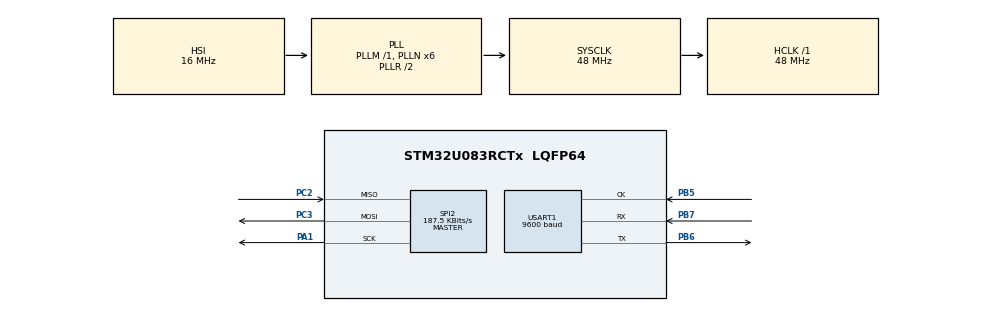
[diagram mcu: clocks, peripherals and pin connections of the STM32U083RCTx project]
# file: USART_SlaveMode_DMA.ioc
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Dma.Request0=USART1_TX
Dma.Request1=USART1_RX
Dma.Request2=SPI2_TX
Dma.Request3=SPI2_RX
Dma.SPI2_RX.3.Direction=DMA_PERIPH_TO_MEMORY
Dma.SPI2_RX.3.EventEnable=DISABLE
Dma.SPI2_RX.3.Instance=DMA1_Channel4
Dma.SPI2_RX.3.MemDataAlignment=DMA_MDATAALIGN_BYTE
Dma.SPI2_RX.3.MemInc=DMA_MINC_ENABLE
Dma.SPI2_RX.3.Mode=DMA_NORMAL
Dma.SPI2_RX.3.PeriphDataAlignment=DMA_PDATAALIGN_BYTE
Dma.SPI2_RX.3.PeriphInc=DMA_PINC_DISABLE
Dma.SPI2_RX.3.Polarity=HAL_DMAMUX_REQ_GEN_RISING
Dma.SPI2_RX.3.Priority=DMA_PRIORITY_LOW
Dma.SPI2_RX.3.RequestNumber=1
Dma.SPI2_RX.3.SignalID=NONE
Dma.SPI2_RX.3.SyncEnable=DISABLE
Dma.SPI2_RX.3.SyncPolarity=HAL_DMAMUX_SYNC_NO_EVENT
Dma.SPI2_RX.3.SyncRequestNumber=1
Dma.SPI2_RX.3.SyncSignalID=NONE
Dma.SPI2_TX.2.Direction=DMA_MEMORY_TO_PERIPH
Dma.SPI2_TX.2.EventEnable=DISABLE
Dma.SPI2_TX.2.Instance=DMA1_Channel3
Dma.SPI2_TX.2.MemDataAlignment=DMA_MDATAALIGN_BYTE
Dma.SPI2_TX.2.MemInc=DMA_MINC_ENABLE
Dma.SPI2_TX.2.Mode=DMA_NORMAL
Dma.SPI2_TX.2.PeriphDataAlignment=DMA_PDATAALIGN_BYTE
Dma.SPI2_TX.2.PeriphInc=DMA_PINC_DISABLE
Dma.SPI2_TX.2.Polarity=HAL_DMAMUX_REQ_GEN_RISING
Dma.SPI2_TX.2.Priority=DMA_PRIORITY_LOW
Dma.SPI2_TX.2.RequestNumber=1
Dma.SPI2_TX.2.SignalID=NONE
Dma.SPI2_TX.2.SyncEnable=DISABLE
Dma.SPI2_TX.2.SyncPolarity=HAL_DMAMUX_SYNC_NO_EVENT
Dma.SPI2_TX.2.SyncRequestNumber=1
Dma.SPI2_TX.2.SyncSignalID=NONE
Dma.USART1_RX.1.Direction=DMA_PERIPH_TO_MEMORY
Dma.USART1_RX.1.EventEnable=DISABLE
Dma.USART1_RX.1.Instance=DMA1_Channel2
Dma.USART1_RX.1.MemDataAlignment=DMA_MDATAALIGN_BYTE
Dma.USART1_RX.1.MemInc=DMA_MINC_ENABLE
Dma.USART1_RX.1.Mode=DMA_NORMAL
Dma.USART1_RX.1.PeriphDataAlignment=DMA_PDATAALIGN_BYTE
Dma.USART1_RX.1.PeriphInc=DMA_PINC_DISABLE
Dma.USART1_RX.1.Polarity=HAL_DMAMUX_REQ_GEN_RISING
Dma.USART1_RX.1.Priority=DMA_PRIORITY_LOW
Dma.USART1_RX.1.RequestNumber=1
Dma.USART1_RX.1.SignalID=NONE
Dma.USART1_RX.1.SyncEnable=DISABLE
Dma.USART1_RX.1.SyncPolarity=HAL_DMAMUX_SYNC_NO_EVENT
Dma.USART1_RX.1.SyncRequestNumber=1
Dma.USART1_RX.1.SyncSignalID=NONE
Dma.USART1_TX.0.Direction=DMA_MEMORY_TO_PERIPH
Dma.USART1_TX.0.EventEnable=DISABLE
Dma.USART1_TX.0.Instance=DMA1_Channel1
Dma.USART1_TX.0.MemDataAlignment=DMA_MDATAALIGN_BYTE
Dma.USART1_TX.0.MemInc=DMA_MINC_ENABLE
Dma.USART1_TX.0.Mode=DMA_NORMAL
Dma.USART1_TX.0.PeriphDataAlignment=DMA_PDATAALIGN_BYTE
Dma.USART1_TX.0.PeriphInc=DMA_PINC_DISABLE
Dma.USART1_TX.0.Polarity=HAL_DMAMUX_REQ_GEN_RISING
Dma.USART1_TX.0.Priority=DMA_PRIORITY_LOW
Dma.USART1_TX.0.RequestNumber=1
Dma.USART1_TX.0.SignalID=NONE
Dma.USART1_TX.0.SyncEnable=DISABLE
Dma.USART1_TX.0.SyncPolarity=HAL_DMAMUX_SYNC_NO_EVENT
Dma.USART1_TX.0.SyncRequestNumber=1
Dma.USART1_TX.0.SyncSignalID=NONE
Mcu.Family=STM32U0
Mcu.Name=STM32U083RCTx
Mcu.Package=LQFP64
NVIC.DMA1_Ch4_7_DMA2_Ch1_5_DMAMUX_OVR_IRQn=true\:0\:0\:false\:false\:true\:false\:true\:true
NVIC.DMA1_Channel1_IRQn=true\:0\:0\:false\:false\:true\:false\:true\:true
NVIC.DMA1_Channel2_3_IRQn=true\:0\:0\:false\:false\:true\:false\:true\:true
NVIC.SPI2_3_IRQn=true\:0\:0\:false\:false\:true\:true\:true\:true
NVIC.USART1_IRQn=true\:0\:0\:false\:false\:true\:true\:true\:true
PA1.GPIO_PuPd=GPIO_NOPULL
PA1.GPIO_Speed=GPIO_SPEED_FREQ_VERY_HIGH
PA1.Mode=Full_Duplex_Master
PA1.Signal=SPI2_SCK
PB5.GPIO_PuPd=GPIO_PULLDOWN
PB5.GPIO_Speed=GPIO_SPEED_FREQ_VERY_HIGH
PB5.Mode=Synchronous Slave
PB5.Signal=USART1_CK
PB6.GPIO_PuPd=GPIO_PULLUP
PB6.GPIO_Speed=GPIO_SPEED_FREQ_VERY_HIGH
PB6.Mode=Synchronous Slave
PB6.Signal=USART1_TX
PB7.GPIO_PuPd=GPIO_PULLUP
PB7.GPIO_Speed=GPIO_SPEED_FREQ_VERY_HIGH
PB7.Mode=Synchronous Slave
PB7.Signal=USART1_RX
PC2.GPIO_Speed=GPIO_SPEED_FREQ_VERY_HIGH
PC2.Mode=Full_Duplex_Master
PC2.Signal=SPI2_MISO
PC3.GPIO_Speed=GPIO_SPEED_FREQ_VERY_HIGH
PC3.Mode=Full_Duplex_Master
PC3.Signal=SPI2_MOSI
ProjectManager.HeapSize=0x200
ProjectManager.StackSize=0x400
ProjectManager.TargetToolchain=EWARM V9.20
RCC.ADCFreq_Value=48000000
RCC.AHBFreq_Value=48000000
RCC.CortexFreq_Value=48000000
RCC.HCLKFreq_Value=48000000
RCC.HSE_VALUE=4000000
RCC.HSI48_VALUE=48000000
RCC.HSI_VALUE=16000000
RCC.LSE_VALUE=32768
RCC.MSI_VALUE=4000000
RCC.PLLN=6
RCC.SYSCLKFreq_VALUE=48000000
RCC.SYSCLKSource=RCC_SYSCLKSOURCE_PLLCLK
RCC.VCOOutputFreq_Value=96000000
SPI2.BaudRatePrescaler=SPI_BAUDRATEPRESCALER_256
SPI2.CalculateBaudRate=187.5 KBits/s
SPI2.DataSize=SPI_DATASIZE_8BIT
SPI2.Direction=SPI_DIRECTION_2LINES
SPI2.FirstBit=SPI_FIRSTBIT_LSB
SPI2.Mode=SPI_MODE_MASTER
SPI2.NSSPMode=SPI_NSS_PULSE_DISABLE
SPI2.VirtualType=VM_MASTER
USART1.BaudRate=9600
USART1.CLKLastBit=USART_LASTBIT_ENABLE
USART1.VirtualMode-Synchronous\ Slave=VM_SYNC
VP_PWR_VS_SECSignals.Mode=Security/Privilege
board=custom

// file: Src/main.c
/* USER CODE BEGIN Header */
/**
  ******************************************************************************
  * @file           : main.c
  * @brief          : Main program body
  ******************************************************************************
  * @attention
  *
  * Copyright (c) 2023 STMicroelectronics.
  * All rights reserved.
  *
  * This software is licensed under terms that can be found in the LICENSE file
  * in the root directory of this software component.
  * If no LICENSE file comes with this software, it is provided AS-IS.
  *
  ******************************************************************************
  */
/* USER CODE END Header */
#include "main.h"

SPI_HandleTypeDef hspi2;
DMA_HandleTypeDef hdma_spi2_tx;
DMA_HandleTypeDef hdma_spi2_rx;

USART_HandleTypeDef husart1;
DMA_HandleTypeDef hdma_usart1_tx;
DMA_HandleTypeDef hdma_usart1_rx;

/* USER CODE BEGIN PV */
__IO uint32_t UserButtonStatus = 0; /* set to 1 after User Button interrupt */
__IO ITStatus UsartReady = RESET;
__IO ITStatus SpiReady = RESET;

/* Buffer used for transmission */
uint8_t aTxBuffer[] = " **** USART_SlaveMode ****  **** USART_SlaveMode ****  **** USART_SlaveMode **** ";

/* Buffer used for reception */
uint8_t aRxBuffer[RXBUFFERSIZE];
/* USER CODE END PV */

void SystemClock_Config(void);
static void MX_GPIO_Init(void);
static void MX_DMA_Init(void);
static void MX_SPI2_Init(void);
static void MX_USART1_Init(void);
/* USER CODE BEGIN PFP */
static uint16_t Buffercmp(uint8_t* pBuffer1, uint8_t* pBuffer2, uint16_t BufferLength);
/* USER CODE END PFP */

int main(void)
{
  /* USER CODE BEGIN 1 */
  /* STM32U0xx HAL library initialization:
       - Configure the Flash prefetch
       - Systick timer is configured by default as source of time base, but user
         can eventually implement his proper time base source (a general purpose
         timer for example or other time source), keeping in mind that Time base
         duration should be kept 1ms since PPP_TIMEOUT_VALUEs are defined and
         handled in milliseconds basis.
       - Low Level Initialization
     */
  /* USER CODE END 1 */

  /* MCU Configuration--------------------------------------------------------*/

  /* Reset of all peripherals, Initializes the Flash interface and the Systick. */
  HAL_Init();

  /* Configure the system clock */
  SystemClock_Config();

  /* Initialize all configured peripherals */
  MX_GPIO_Init();
  MX_DMA_Init();
  MX_SPI2_Init();
  MX_USART1_Init();
  /* USER CODE BEGIN 2 */
  /* Configure LED4 */
  BSP_LED_Init(LED4);

#ifdef SLAVE_BOARD
  /* Configure the Slave Select input pin */
  HAL_USARTEx_ConfigNSS(&husart1, USART_NSS_SOFT);

  /*##-2- Start the transmission/reception process ###########################*/
  if(HAL_USART_TransmitReceive_DMA(&husart1, (uint8_t*)aTxBuffer, (uint8_t*)aRxBuffer, TXBUFFERSIZE)!= HAL_OK)
  {
    Error_Handler();
  }

  /* Wait of USART state ready */
  while(UsartReady == RESET)
  {
    /* Toggle LED4*/
    BSP_LED_Toggle(LED4);
    HAL_Delay(100);
  }
  BSP_LED_Off(LED4);

#else

   /* Configure User push-button in Interrupt mode */
  BSP_PB_Init(BUTTON_USER, BUTTON_MODE_EXTI);

  /* Wait for User push-button press before starting the Communication.
     In the meantime, LED4 is blinking */
  while(UserButtonStatus == 0)
  {
    /* Toggle LED4*/
    BSP_LED_Toggle(LED4);
    HAL_Delay(100);
  }
  BSP_LED_Off(LED4);

  /*##-2- Start the transmission/reception process ###########################*/
  if(HAL_SPI_TransmitReceive_DMA(&hspi2, (uint8_t*)aTxBuffer, (uint8_t*)aRxBuffer, TXBUFFERSIZE)!= HAL_OK)
  {
    Error_Handler();
  }

  /* Wait of SPI state ready */
  while(SpiReady == RESET);

#endif /* SLAVE_BOARD */

  /*##-4- Compare the sent and received buffers ##############################*/
  if(Buffercmp((uint8_t*)aTxBuffer,(uint8_t*)aRxBuffer,RXBUFFERSIZE))
  {
    Error_Handler();
  }

  /* Turn on LED4 if test passes then enter infinite loop */
  BSP_LED_On(LED4);
  /* USER CODE END 2 */

  /* Infinite loop */
  while (1)
  {

  }
}

void SystemClock_Config(void)
{
  RCC_OscInitTypeDef RCC_OscInitStruct = {0};
  RCC_ClkInitTypeDef RCC_ClkInitStruct = {0};

  /** Configure the main internal regulator output voltage
  */
  HAL_PWREx_ControlVoltageScaling(PWR_REGULATOR_VOLTAGE_SCALE1);

  /** Initializes the RCC Oscillators according to the specified parameters
  * in the RCC_OscInitTypeDef structure.
  */
  RCC_OscInitStruct.OscillatorType = RCC_OSCILLATORTYPE_HSI;
  RCC_OscInitStruct.HSIState = RCC_HSI_ON;
  RCC_OscInitStruct.HSICalibrationValue = RCC_HSICALIBRATION_DEFAULT;
  RCC_OscInitStruct.PLL.PLLState = RCC_PLL_ON;
  RCC_OscInitStruct.PLL.PLLSource = RCC_PLLSOURCE_HSI;
  RCC_OscInitStruct.PLL.PLLM = RCC_PLLM_DIV1;
  RCC_OscInitStruct.PLL.PLLN = 6;
  RCC_OscInitStruct.PLL.PLLP = RCC_PLLP_DIV2;
  RCC_OscInitStruct.PLL.PLLQ = RCC_PLLQ_DIV2;
  RCC_OscInitStruct.PLL.PLLR = RCC_PLLR_DIV2;
  if (HAL_RCC_OscConfig(&RCC_OscInitStruct) != HAL_OK)
  {
    Error_Handler();
  }

  /** Initializes the CPU, AHB and APB buses clocks
  */
  RCC_ClkInitStruct.ClockType = RCC_CLOCKTYPE_HCLK|RCC_CLOCKTYPE_SYSCLK
                              |RCC_CLOCKTYPE_PCLK1;
  RCC_ClkInitStruct.SYSCLKSource = RCC_SYSCLKSOURCE_PLLCLK;
  RCC_ClkInitStruct.AHBCLKDivider = RCC_SYSCLK_DIV1;
  RCC_ClkInitStruct.APB1CLKDivider = RCC_HCLK_DIV1;

  if (HAL_RCC_ClockConfig(&RCC_ClkInitStruct, FLASH_LATENCY_1) != HAL_OK)
  {
    Error_Handler();
  }
}

static void MX_SPI2_Init(void)
{

  /* SPI2 parameter configuration*/
  hspi2.Instance = SPI2;
  hspi2.Init.Mode = SPI_MODE_MASTER;
  hspi2.Init.Direction = SPI_DIRECTION_2LINES;
  hspi2.Init.DataSize = SPI_DATASIZE_8BIT;
  hspi2.Init.CLKPolarity = SPI_POLARITY_LOW;
  hspi2.Init.CLKPhase = SPI_PHASE_1EDGE;
  hspi2.Init.NSS = SPI_NSS_SOFT;
  hspi2.Init.BaudRatePrescaler = SPI_BAUDRATEPRESCALER_256;
  hspi2.Init.FirstBit = SPI_FIRSTBIT_LSB;
  hspi2.Init.TIMode = SPI_TIMODE_DISABLE;
  hspi2.Init.CRCCalculation = SPI_CRCCALCULATION_DISABLE;
  hspi2.Init.CRCPolynomial = 7;
  hspi2.Init.CRCLength = SPI_CRC_LENGTH_DATASIZE;
  hspi2.Init.NSSPMode = SPI_NSS_PULSE_DISABLE;
  if (HAL_SPI_Init(&hspi2) != HAL_OK)
  {
    Error_Handler();
  }

}

static void MX_USART1_Init(void)
{

  husart1.Instance = USART1;
  husart1.Init.BaudRate = 9600;
  husart1.Init.WordLength = USART_WORDLENGTH_8B;
  husart1.Init.StopBits = USART_STOPBITS_1;
  husart1.Init.Parity = USART_PARITY_NONE;
  husart1.Init.Mode = USART_MODE_TX_RX;
  husart1.Init.CLKPolarity = USART_POLARITY_LOW;
  husart1.Init.CLKPhase = USART_PHASE_1EDGE;
  husart1.Init.CLKLastBit = USART_LASTBIT_ENABLE;
  husart1.Init.ClockPrescaler = USART_PRESCALER_DIV1;
  husart1.SlaveMode = USART_SLAVEMODE_ENABLE;
  if (HAL_USART_Init(&husart1) != HAL_OK)
  {
    Error_Handler();
  }
  if (HAL_USARTEx_SetTxFifoThreshold(&husart1, USART_TXFIFO_THRESHOLD_1_8) != HAL_OK)
  {
    Error_Handler();
  }
  if (HAL_USARTEx_SetRxFifoThreshold(&husart1, USART_RXFIFO_THRESHOLD_1_8) != HAL_OK)
  {
    Error_Handler();
  }
  if (HAL_USARTEx_DisableFifoMode(&husart1) != HAL_OK)
  {
    Error_Handler();
  }
  if (HAL_USARTEx_EnableSlaveMode(&husart1) != HAL_OK)
  {
    Error_Handler();
  }

}

static void MX_DMA_Init(void)
{

  /* DMA controller clock enable */
  __HAL_RCC_DMA1_CLK_ENABLE();

  /* DMA interrupt init */
  /* DMA1_Channel1_IRQn interrupt configuration */
  HAL_NVIC_SetPriority(DMA1_Channel1_IRQn, 0, 0);
  HAL_NVIC_EnableIRQ(DMA1_Channel1_IRQn);
  /* DMA1_Channel2_3_IRQn interrupt configuration */
  HAL_NVIC_SetPriority(DMA1_Channel2_3_IRQn, 0, 0);
  HAL_NVIC_EnableIRQ(DMA1_Channel2_3_IRQn);
  /* DMA1_Ch4_7_DMA2_Ch1_5_DMAMUX_OVR_IRQn interrupt configuration */
  HAL_NVIC_SetPriority(DMA1_Ch4_7_DMA2_Ch1_5_DMAMUX_OVR_IRQn, 0, 0);
  HAL_NVIC_EnableIRQ(DMA1_Ch4_7_DMA2_Ch1_5_DMAMUX_OVR_IRQn);

}

static void MX_GPIO_Init(void)
{

  /* GPIO Ports Clock Enable */
  __HAL_RCC_GPIOC_CLK_ENABLE();
  __HAL_RCC_GPIOA_CLK_ENABLE();
  __HAL_RCC_GPIOB_CLK_ENABLE();

}

/* USER CODE BEGIN 4 */
/**
  * @brief  TX/Rx Transfer completed callback
  * @param  UsartHandle: USART handle
  * @note   This example shows a simple way to report end of DMA TX/Rx transfer, and
  *         you can add your own implementation.
  * @retval None
  */
void HAL_USART_TxRxCpltCallback(USART_HandleTypeDef *UsartHandle)
{
  /* Set transmission flag: transfer complete */
  UsartReady = SET;

}

/**
  * @brief  TX/Rx Transfer completed callback
  * @param  SpiHandle: SPI handle
  * @note   This example shows a simple way to report end of DMA TX/Rx transfer, and
  *         you can add your own implementation.
  * @retval None
  */
void HAL_SPI_TxRxCpltCallback(SPI_HandleTypeDef *SpiHandle)
{
  /* Set transmission flag: transfer complete */
  SpiReady = SET;
}

/**
  * @brief  UART error callbacks
  * @param  UartHandle: UART handle
  * @note   This example shows a simple way to report transfer error, and you can
  *         add your own implementation.
  * @retval None
  */
void HAL_USART_ErrorCallback(USART_HandleTypeDef *UsartHandle)
{
    Error_Handler();
}

/**
  * @brief EXTI line detection callbacks
  * @param GPIO_Pin: Specifies the pins connected EXTI line
  * @retval None
  */
void BSP_PB_Callback(Button_TypeDef Button)
{
  if(Button == BUTTON_USER)
  {
    UserButtonStatus = 1;
  }
}

/**
  * @brief  Compares two buffers.
  * @param  pBuffer1, pBuffer2: buffers to be compared.
  * @param  BufferLength: buffer's length
  * @retval 0  : pBuffer1 identical to pBuffer2
  *         >0 : pBuffer1 differs from pBuffer2
  */
static uint16_t Buffercmp(uint8_t* pBuffer1, uint8_t* pBuffer2, uint16_t BufferLength)
{
  while (BufferLength--)
  {
    if ((*pBuffer1) != *pBuffer2)
    {
      return BufferLength;
    }
    pBuffer1++;
    pBuffer2++;
  }

  return 0;
}
/* USER CODE END 4 */

void Error_Handler(void)
{
  /* USER CODE BEGIN Error_Handler_Debug */

  while (1)
  {
    /* Toggle LED4 */
    BSP_LED_Toggle(LED4);
    HAL_Delay(1000);
  }
  /* USER CODE END Error_Handler_Debug */
}

#ifdef  USE_FULL_ASSERT
/**
  * @brief  Reports the name of the source file and the source line number
  *         where the assert_param error has occurred.
  * @param  file: pointer to the source file name
  * @param  line: assert_param error line source number
  * @retval None
  */
void assert_failed(uint8_t *file, uint32_t line)
{
  /* USER CODE BEGIN 6 */
  /* User can add his own implementation to report the file name and line number,
     ex: printf("Wrong parameters value: file %s on line %d\r\n", file, line) */
  /* Infinite Loop */
  while(1)
  {
  }
  /* USER CODE END 6 */
}
#endif /* USE_FULL_ASSERT */
